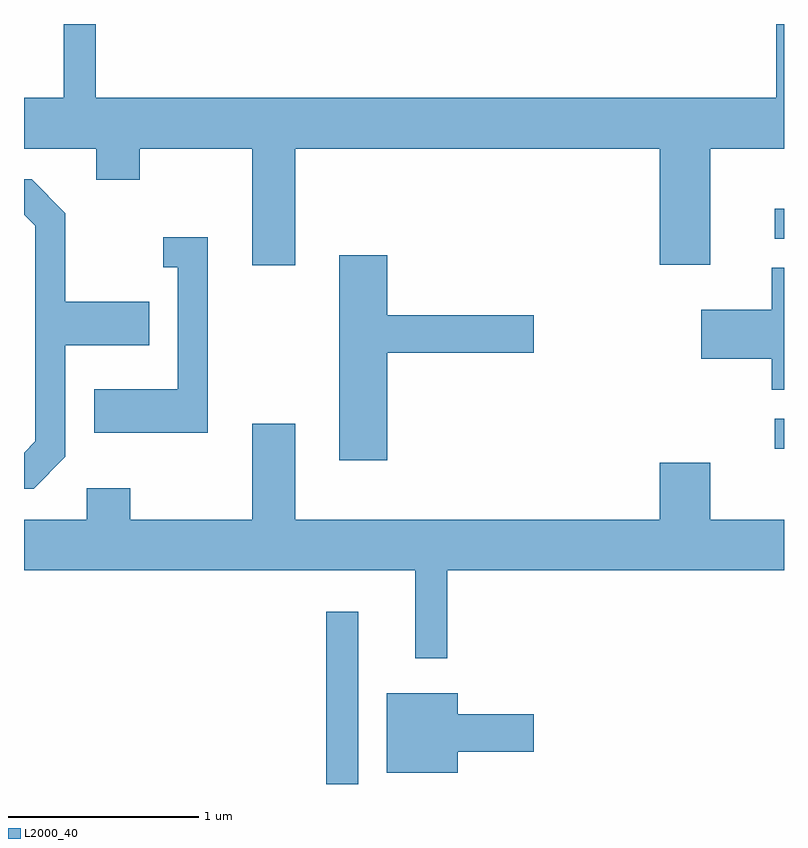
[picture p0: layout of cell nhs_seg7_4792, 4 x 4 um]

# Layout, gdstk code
import gdstk
lib = gdstk.Library(unit=1e-6, precision=1e-09)
def R(c, l, rs):  # rectangles x0, y0, x1, y1
    for r in rs: c.add(gdstk.rectangle(r[:2], r[2:], *l))
def P(c, l, *ps):  # polygons
    for p in ps: c.add(gdstk.Polygon(p, *l))
L2000_40 = (2000, 40)

nhs_seg7_4792 = lib.new_cell('nhs_seg7_4792')
R(nhs_seg7_4792, L2000_40, [(333.201,1764.252,333.369,1765.158), (335.563,1766.016,335.611,1766.174), (335.563,1767.121,335.611,1767.279)])
P(nhs_seg7_4792, L2000_40, [(333.039,1767.596),(334.956,1767.596),(334.956,1766.986),(335.224,1766.986),(335.224,1767.596),(335.611,1767.596),(335.611,1768.252),(335.571,1768.252),(335.571,1767.864),(331.989,1767.864),(331.989,1768.252),(331.821,1768.252),(331.821,1767.864),(331.611,1767.864),(331.611,1767.596),(331.991,1767.596),(331.991,1767.431),(332.219,1767.431),(332.219,1767.596),(332.811,1767.596),(332.811,1766.981),(333.039,1766.981)],
  [(331.829,1765.974),(331.829,1766.561),(332.269,1766.561),(332.269,1766.789),(331.829,1766.789),(331.829,1767.257),(331.652,1767.434),(331.611,1767.434),(331.611,1767.249),(331.671,1767.189),(331.671,1766.057),(331.611,1765.996),(331.611,1765.806),(331.662,1765.806)],
  [(332.579,1767.129),(332.343,1767.129),(332.343,1766.971),(332.421,1766.971),(332.421,1766.329),(331.981,1766.329),(331.981,1766.101),(332.579,1766.101)],
  [(333.524,1766.521),(334.294,1766.521),(334.294,1766.719),(333.524,1766.719),(333.524,1767.034),(333.271,1767.034),(333.271,1765.956),(333.524,1765.956)],
  [(335.611,1766.969),(335.546,1766.969),(335.546,1766.749),(335.176,1766.749),(335.176,1766.491),(335.546,1766.491),(335.546,1766.326),(335.611,1766.326)],
  [(333.839,1765.376),(335.611,1765.376),(335.611,1765.644),(335.224,1765.644),(335.224,1765.944),(334.956,1765.944),(334.956,1765.644),(333.039,1765.644),(333.039,1766.149),(332.811,1766.149),(332.811,1765.644),(332.169,1765.644),(332.169,1765.809),(331.941,1765.809),(331.941,1765.644),(331.611,1765.644),(331.611,1765.376),(333.671,1765.376),(333.671,1764.913),(333.839,1764.913)],
  [(333.894,1764.421),(334.294,1764.421),(334.294,1764.619),(333.894,1764.619),(333.894,1764.729),(333.521,1764.729),(333.521,1764.311),(333.894,1764.311)])

lib.write_gds('nhs_seg7_4792.gds')
